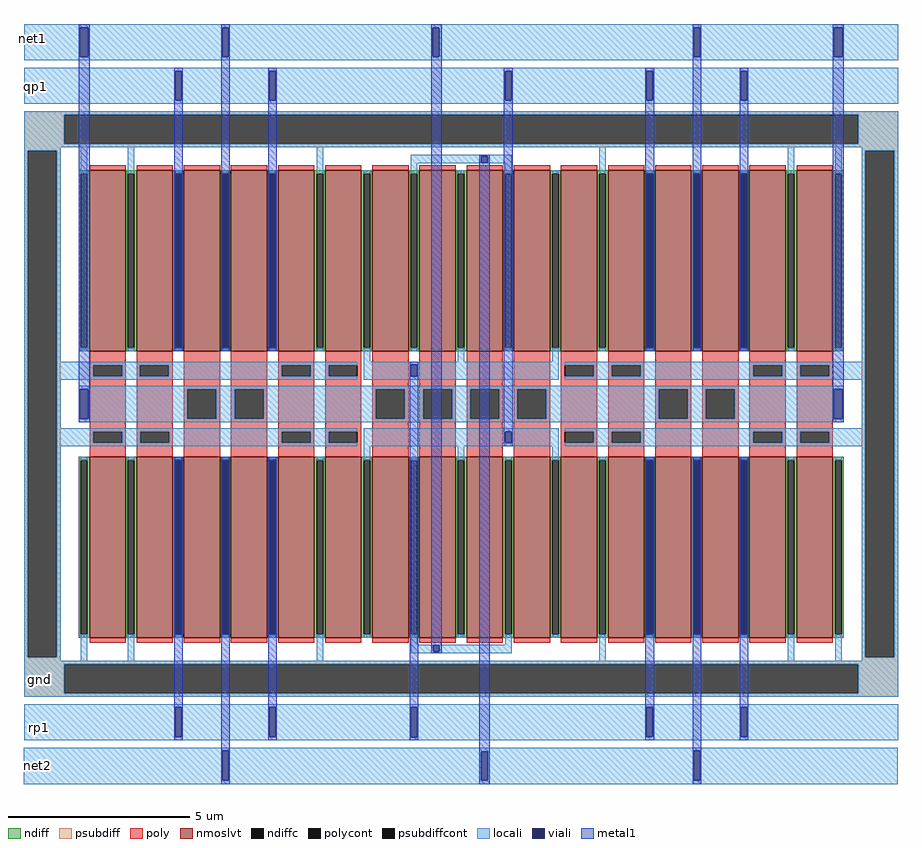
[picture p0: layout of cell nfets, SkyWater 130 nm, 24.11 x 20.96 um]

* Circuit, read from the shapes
.subckt nfets net1 qp1 gnd rp1 net2
XM1 gnd gnd gnd gnd sky130_fd_pr__nfet_01v8_lvt w=5 l=1 m=4
XM2 rp1 gnd gnd gnd sky130_fd_pr__nfet_01v8_lvt w=5 l=1 m=6
XM3 qp1 gnd gnd gnd sky130_fd_pr__nfet_01v8_lvt w=5 l=1 m=6
XM4 net2 net1 rp1 gnd sky130_fd_pr__nfet_01v8_lvt w=5 l=1 m=8
XM5 net1 net1 qp1 gnd sky130_fd_pr__nfet_01v8_lvt w=5 l=1 m=8
.ends

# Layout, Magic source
magic
tech sky130A
<< ndiff >>
rect 263 503 287 513
rect 263 23 266 503
rect 284 23 287 503
rect 263 13 287 23
rect 1303 503 1327 513
rect 1303 23 1306 503
rect 1324 23 1327 503
rect 1303 13 1327 23
rect 1433 503 1457 513
rect 1433 23 1436 503
rect 1454 23 1457 503
rect 1433 13 1457 23
rect 1563 503 1587 513
rect 1563 23 1566 503
rect 1584 23 1587 503
rect 1563 13 1587 23
rect 1820 503 1850 513
rect 1820 23 1826 503
rect 1844 23 1850 503
rect 1820 13 1850 23
rect 263 -287 287 -277
rect 263 -767 266 -287
rect 284 -767 287 -287
rect 263 -777 287 -767
rect 1303 -287 1327 -277
rect 1303 -767 1306 -287
rect 1324 -767 1327 -287
rect 1303 -777 1327 -767
rect 1433 -287 1457 -277
rect 1433 -767 1436 -287
rect 1454 -767 1457 -287
rect 1433 -777 1457 -767
rect 1563 -287 1587 -277
rect 1563 -767 1566 -287
rect 1584 -767 1587 -287
rect 1563 -777 1587 -767
<< ndiffc >>
rect 266 23 284 503
rect 1306 23 1324 503
rect 1436 23 1454 503
rect 1566 23 1584 503
rect 1826 23 1844 503
rect 266 -767 284 -287
rect 1306 -767 1324 -287
rect 1436 -767 1454 -287
rect 1566 -767 1584 -287
<< psubdiff >>
rect -410 666 2000 676
rect -410 586 -300 666
rect 1890 586 2000 666
rect -410 576 2000 586
rect -410 566 -310 576
rect -410 -830 -400 566
rect -320 -830 -310 566
rect 1900 566 2000 576
rect -410 -840 -310 -830
rect 1900 -830 1910 566
rect 1990 -830 2000 566
rect 1900 -840 2000 -830
rect -410 -850 2000 -840
rect -410 -930 -300 -850
rect 1890 -930 2000 -850
rect -410 -940 2000 -930
<< psubdiffcont >>
rect -300 586 1890 666
rect -400 -830 -320 566
rect 1910 -830 1990 566
rect -300 -930 1890 -850
<< poly >>
rect -230 -25 -130 0
rect -230 -55 -220 -25
rect -140 -55 -130 -25
rect -230 -209 -130 -55
rect -230 -239 -220 -209
rect -140 -239 -130 -209
rect -230 -264 -130 -239
rect -100 -25 0 0
rect -100 -55 -91 -25
rect -11 -55 0 -25
rect -100 -209 0 -55
rect -100 -239 -90 -209
rect -10 -239 0 -209
rect -100 -264 0 -239
rect 30 -92 130 0
rect 30 -172 40 -92
rect 120 -172 130 -92
rect 30 -264 130 -172
rect 160 -92 260 0
rect 160 -172 170 -92
rect 250 -172 260 -92
rect 160 -264 260 -172
rect 290 -25 390 0
rect 290 -55 300 -25
rect 380 -55 390 -25
rect 290 -209 390 -55
rect 290 -239 300 -209
rect 380 -239 390 -209
rect 290 -264 390 -239
rect 420 -25 520 0
rect 420 -55 430 -25
rect 509 -55 520 -25
rect 420 -209 520 -55
rect 420 -239 430 -209
rect 509 -239 520 -209
rect 420 -264 520 -239
rect 550 -92 650 0
rect 550 -172 560 -92
rect 640 -172 650 -92
rect 550 -264 650 -172
rect 680 -92 780 0
rect 680 -172 690 -92
rect 770 -172 780 -92
rect 680 -264 780 -172
rect 810 -92 910 0
rect 810 -172 820 -92
rect 900 -172 910 -92
rect 810 -264 910 -172
rect 940 -92 1040 0
rect 940 -172 950 -92
rect 1030 -172 1040 -92
rect 940 -264 1040 -172
rect 1070 -25 1170 0
rect 1070 -55 1081 -25
rect 1160 -55 1170 -25
rect 1070 -209 1170 -55
rect 1070 -239 1081 -209
rect 1160 -239 1170 -209
rect 1070 -264 1170 -239
rect 1200 -25 1300 0
rect 1200 -55 1210 -25
rect 1290 -55 1300 -25
rect 1200 -209 1300 -55
rect 1200 -239 1210 -209
rect 1290 -239 1300 -209
rect 1200 -264 1300 -239
rect 1330 -92 1430 0
rect 1330 -172 1340 -92
rect 1420 -172 1430 -92
rect 1330 -264 1430 -172
rect 1460 -92 1560 0
rect 1460 -172 1470 -92
rect 1550 -172 1560 -92
rect 1460 -264 1560 -172
rect 1590 -25 1690 0
rect 1590 -55 1600 -25
rect 1680 -55 1690 -25
rect 1590 -209 1690 -55
rect 1590 -239 1601 -209
rect 1681 -239 1690 -209
rect 1590 -264 1690 -239
rect 1720 -25 1820 0
rect 1720 -55 1730 -25
rect 1810 -55 1820 -25
rect 1720 -209 1820 -55
rect 1720 -239 1730 -209
rect 1810 -239 1820 -209
rect 1720 -264 1820 -239
<< polycont >>
rect -220 -55 -140 -25
rect -220 -239 -140 -209
rect -91 -55 -11 -25
rect -90 -239 -10 -209
rect 40 -172 120 -92
rect 170 -172 250 -92
rect 300 -55 380 -25
rect 300 -239 380 -209
rect 430 -55 509 -25
rect 430 -239 509 -209
rect 560 -172 640 -92
rect 690 -172 770 -92
rect 820 -172 900 -92
rect 950 -172 1030 -92
rect 1081 -55 1160 -25
rect 1081 -239 1160 -209
rect 1210 -55 1290 -25
rect 1210 -239 1290 -209
rect 1340 -172 1420 -92
rect 1470 -172 1550 -92
rect 1600 -55 1680 -25
rect 1601 -239 1681 -209
rect 1730 -55 1810 -25
rect 1730 -239 1810 -209
<< locali >>
rect -410 906 2000 916
rect -410 826 -257 906
rect -233 826 136 906
rect 154 905 1436 906
rect 154 826 717 905
rect 735 826 1436 905
rect 1454 826 1823 906
rect 1847 826 2000 906
rect -410 816 2000 826
rect -410 786 2000 796
rect -410 706 6 786
rect 24 706 266 786
rect 284 706 916 786
rect 934 706 1306 786
rect 1324 706 1566 786
rect 1584 706 2000 786
rect -410 696 2000 706
rect -410 666 2000 676
rect -410 586 -300 666
rect 1890 586 2000 666
rect -410 576 2000 586
rect -410 566 -310 576
rect -410 -830 -400 566
rect -320 -15 -310 566
rect -254 513 -236 576
rect -124 513 -106 576
rect 396 513 414 576
rect 656 551 934 556
rect 656 534 851 551
rect 868 534 934 551
rect 656 532 934 534
rect 656 513 674 532
rect 916 513 934 532
rect 1176 513 1194 576
rect 1696 513 1714 576
rect 266 503 284 513
rect 266 13 284 23
rect 1306 503 1324 513
rect 1306 13 1324 23
rect 1436 503 1454 513
rect 1436 13 1454 23
rect 1566 503 1584 513
rect 1566 13 1584 23
rect 1826 503 1844 576
rect 1826 13 1844 23
rect 1900 566 2000 576
rect 526 -15 544 13
rect 786 -15 804 13
rect 1046 -15 1064 13
rect 1900 -15 1910 566
rect -320 -25 509 -15
rect -320 -55 -220 -25
rect -140 -55 -91 -25
rect -11 -55 300 -25
rect 380 -55 430 -25
rect -320 -65 509 -55
rect 526 -24 1064 -15
rect 526 -56 656 -24
rect 674 -56 1064 -24
rect 526 -65 1064 -56
rect 1081 -25 1910 -15
rect 1160 -55 1210 -25
rect 1290 -55 1600 -25
rect 1680 -55 1730 -25
rect 1810 -55 1910 -25
rect 1081 -65 1910 -55
rect -320 -199 -310 -65
rect -260 -92 1850 -82
rect -260 -172 -257 -92
rect -233 -172 40 -92
rect 120 -172 170 -92
rect 250 -172 560 -92
rect 640 -172 690 -92
rect 770 -172 820 -92
rect 900 -172 950 -92
rect 1030 -172 1340 -92
rect 1420 -172 1470 -92
rect 1550 -172 1823 -92
rect 1847 -172 1850 -92
rect -260 -182 1850 -172
rect 1900 -199 1910 -65
rect -320 -209 509 -199
rect -320 -239 -220 -209
rect -140 -239 -90 -209
rect -10 -239 300 -209
rect 380 -239 430 -209
rect -320 -249 509 -239
rect 526 -209 1064 -199
rect 526 -239 916 -209
rect 934 -239 1064 -209
rect 526 -249 1064 -239
rect 1081 -209 1910 -199
rect 1160 -239 1210 -209
rect 1290 -239 1601 -209
rect 1681 -239 1730 -209
rect 1810 -239 1910 -209
rect 1081 -249 1910 -239
rect -320 -830 -310 -249
rect 526 -277 544 -249
rect 786 -277 804 -249
rect 1046 -277 1064 -249
rect 266 -287 284 -277
rect 266 -777 284 -767
rect 1306 -287 1324 -277
rect 1306 -777 1324 -767
rect 1436 -287 1454 -277
rect 1436 -777 1454 -767
rect 1566 -287 1584 -277
rect 1566 -777 1584 -767
rect -410 -840 -310 -830
rect -254 -840 -236 -777
rect -124 -840 -106 -777
rect 396 -840 414 -777
rect 656 -796 674 -777
rect 916 -796 934 -777
rect 656 -798 934 -796
rect 656 -815 718 -798
rect 735 -815 934 -798
rect 656 -820 934 -815
rect 1176 -840 1194 -777
rect 1696 -840 1714 -777
rect 1826 -840 1844 -777
rect 1900 -830 1910 -249
rect 1990 -830 2000 566
rect 1900 -840 2000 -830
rect -410 -850 2000 -840
rect -410 -930 -300 -850
rect 1890 -930 2000 -850
rect -410 -940 2000 -930
rect -410 -968 2000 -960
rect -410 -1050 6 -968
rect 24 -1050 266 -968
rect 284 -969 1306 -968
rect 284 -1050 656 -969
rect -410 -1051 656 -1050
rect 674 -1050 1306 -969
rect 1324 -1050 1566 -968
rect 1584 -1050 2000 -968
rect 674 -1051 2000 -1050
rect -410 -1060 2000 -1051
rect -411 -1088 1999 -1080
rect -411 -1170 136 -1088
rect 154 -1091 1436 -1088
rect 154 -1170 850 -1091
rect 868 -1170 1436 -1091
rect 1454 -1170 1999 -1088
rect -411 -1180 1999 -1170
<< viali >>
rect -257 826 -233 906
rect 136 826 154 906
rect 717 826 735 905
rect 1436 826 1454 906
rect 1823 826 1847 906
rect 6 706 24 786
rect 266 706 284 786
rect 916 706 934 786
rect 1306 706 1324 786
rect 1566 706 1584 786
rect 851 534 868 551
rect 6 23 24 503
rect 136 23 154 503
rect 266 23 284 503
rect 1306 23 1324 503
rect 1436 23 1454 503
rect 1566 23 1584 503
rect 656 -56 674 -24
rect -257 -172 -233 -92
rect 1823 -172 1847 -92
rect 916 -239 934 -209
rect 6 -767 24 -287
rect 136 -767 154 -287
rect 266 -767 284 -287
rect 1306 -767 1324 -287
rect 1436 -767 1454 -287
rect 1566 -767 1584 -287
rect 718 -815 735 -798
rect 6 -1050 24 -968
rect 266 -1050 284 -968
rect 656 -1051 674 -969
rect 1306 -1050 1324 -968
rect 1566 -1050 1584 -968
rect 136 -1170 154 -1088
rect 850 -1170 868 -1091
rect 1436 -1170 1454 -1088
<< metal1 >>
rect -260 906 -230 916
rect -260 826 -257 906
rect -233 826 -230 906
rect -260 -92 -230 826
rect 133 906 157 916
rect 133 826 136 906
rect 154 826 157 906
rect 3 786 27 796
rect 3 706 6 786
rect 24 706 27 786
rect 3 503 27 706
rect 3 23 6 503
rect 24 23 27 503
rect 3 13 27 23
rect 133 503 157 826
rect 712 905 741 916
rect 712 826 717 905
rect 735 826 741 905
rect 133 23 136 503
rect 154 23 157 503
rect 133 13 157 23
rect 263 786 287 796
rect 263 706 266 786
rect 284 706 287 786
rect 263 503 287 706
rect 263 23 266 503
rect 284 23 287 503
rect 263 13 287 23
rect -260 -172 -257 -92
rect -233 -172 -230 -92
rect -260 -182 -230 -172
rect 653 -24 677 -15
rect 653 -56 656 -24
rect 674 -56 677 -24
rect 3 -287 27 -277
rect 3 -767 6 -287
rect 24 -767 27 -287
rect 3 -968 27 -767
rect 3 -1050 6 -968
rect 24 -1050 27 -968
rect 3 -1060 27 -1050
rect 133 -287 157 -277
rect 133 -767 136 -287
rect 154 -767 157 -287
rect 133 -1088 157 -767
rect 263 -287 287 -277
rect 263 -767 266 -287
rect 284 -767 287 -287
rect 263 -968 287 -767
rect 263 -1050 266 -968
rect 284 -1050 287 -968
rect 263 -1060 287 -1050
rect 653 -969 677 -56
rect 712 -798 741 826
rect 1433 906 1457 916
rect 1433 826 1436 906
rect 1454 826 1457 906
rect 913 786 937 796
rect 913 706 916 786
rect 934 706 937 786
rect 712 -815 718 -798
rect 735 -815 741 -798
rect 712 -820 741 -815
rect 845 551 874 556
rect 845 534 851 551
rect 868 534 874 551
rect 653 -1051 656 -969
rect 674 -1051 677 -969
rect 653 -1060 677 -1051
rect 133 -1170 136 -1088
rect 154 -1170 157 -1088
rect 133 -1180 157 -1170
rect 845 -1091 874 534
rect 913 -209 937 706
rect 1303 786 1327 796
rect 1303 706 1306 786
rect 1324 706 1327 786
rect 1303 503 1327 706
rect 1303 23 1306 503
rect 1324 23 1327 503
rect 1303 13 1327 23
rect 1433 503 1457 826
rect 1820 906 1850 916
rect 1820 826 1823 906
rect 1847 826 1850 906
rect 1433 23 1436 503
rect 1454 23 1457 503
rect 1433 13 1457 23
rect 1563 786 1587 796
rect 1563 706 1566 786
rect 1584 706 1587 786
rect 1563 503 1587 706
rect 1563 23 1566 503
rect 1584 23 1587 503
rect 1563 13 1587 23
rect 1820 -92 1850 826
rect 1820 -172 1823 -92
rect 1847 -172 1850 -92
rect 1820 -182 1850 -172
rect 913 -239 916 -209
rect 934 -239 937 -209
rect 913 -249 937 -239
rect 1303 -287 1327 -277
rect 1303 -767 1306 -287
rect 1324 -767 1327 -287
rect 1303 -968 1327 -767
rect 1303 -1050 1306 -968
rect 1324 -1050 1327 -968
rect 1303 -1060 1327 -1050
rect 1433 -287 1457 -277
rect 1433 -767 1436 -287
rect 1454 -767 1457 -287
rect 845 -1170 850 -1091
rect 868 -1170 874 -1091
rect 845 -1180 874 -1170
rect 1433 -1088 1457 -767
rect 1563 -287 1587 -277
rect 1563 -767 1566 -287
rect 1584 -767 1587 -287
rect 1563 -968 1587 -767
rect 1563 -1050 1566 -968
rect 1584 -1050 1587 -968
rect 1563 -1060 1587 -1050
rect 1433 -1170 1436 -1088
rect 1454 -1170 1457 -1088
rect 1433 -1180 1457 -1170
use nfet  nfet_31
transform 1 0 -230 0 1 -777
box -30 -13 130 513
use nfet  nfet_30
transform 1 0 -100 0 1 -777
box -30 -13 130 513
use nfet  nfet_9
transform 1 0 160 0 1 -777
box -30 -13 130 513
use nfet  nfet_8
transform 1 0 30 0 1 -777
box -30 -13 130 513
use nfet  nfet_10
transform 1 0 290 0 1 -777
box -30 -13 130 513
use nfet  nfet_11
transform 1 0 420 0 1 -777
box -30 -13 130 513
use nfet  nfet_12
transform 1 0 550 0 1 -777
box -30 -13 130 513
use nfet  nfet_14
transform 1 0 810 0 1 -777
box -30 -13 130 513
use nfet  nfet_13
transform 1 0 680 0 1 -777
box -30 -13 130 513
use nfet  nfet_15
transform 1 0 940 0 1 -777
box -30 -13 130 513
use nfet  nfet_21
transform 1 0 1200 0 1 -777
box -30 -13 130 513
use nfet  nfet_20
transform 1 0 1070 0 1 -777
box -30 -13 130 513
use nfet  nfet_22
transform 1 0 1330 0 1 -777
box -30 -13 130 513
use nfet  nfet_23
transform 1 0 1460 0 1 -777
box -30 -13 130 513
use nfet  nfet_26
transform 1 0 1590 0 1 -777
box -30 -13 130 513
use nfet  nfet_27
transform 1 0 1720 0 1 -777
box -30 -13 130 513
use nfet  nfet_29
transform 1 0 -230 0 1 13
box -30 -13 130 513
use nfet  nfet_28
transform 1 0 -100 0 1 13
box -30 -13 130 513
use nfet  nfet_0
transform 1 0 30 0 1 13
box -30 -13 130 513
use nfet  nfet_1
transform 1 0 160 0 1 13
box -30 -13 130 513
use nfet  nfet_2
transform 1 0 290 0 1 13
box -30 -13 130 513
use nfet  nfet_3
transform 1 0 420 0 1 13
box -30 -13 130 513
use nfet  nfet_4
transform 1 0 550 0 1 13
box -30 -13 130 513
use nfet  nfet_5
transform 1 0 680 0 1 13
box -30 -13 130 513
use nfet  nfet_6
transform 1 0 810 0 1 13
box -30 -13 130 513
use nfet  nfet_7
transform 1 0 940 0 1 13
box -30 -13 130 513
use nfet  nfet_17
transform 1 0 1200 0 1 13
box -30 -13 130 513
use nfet  nfet_16
transform 1 0 1070 0 1 13
box -30 -13 130 513
use nfet  nfet_18
transform 1 0 1330 0 1 13
box -30 -13 130 513
use nfet  nfet_19
transform 1 0 1460 0 1 13
box -30 -13 130 513
use nfet  nfet_24
transform 1 0 1590 0 1 13
box -30 -13 130 513
use nfet  nfet_25
transform 1 0 1720 0 1 13
box -30 -13 130 513
<< labels >>
rlabel locali -387 876 -387 876 1 net1
port 1 n
rlabel locali -378 743 -378 743 1 qp1
port 2 n
rlabel locali -367 -892 -367 -892 1 gnd
port 3 n
rlabel locali -367 -1023 -367 -1023 1 rp1
port 4 n
rlabel locali -374 -1129 -374 -1129 1 net2
port 5 n
<< end >>

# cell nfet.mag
magic
tech sky130A
<< nmoslvt >>
rect 0 0 100 500
<< ndiff >>
rect -30 490 0 500
rect -30 10 -24 490
rect -6 10 0 490
rect -30 0 0 10
rect 100 490 130 500
rect 100 10 106 490
rect 124 10 130 490
rect 100 0 130 10
<< ndiffc >>
rect -24 10 -6 490
rect 106 10 124 490
<< poly >>
rect 0 500 100 513
rect 0 -13 100 0
<< locali >>
rect -24 490 -6 500
rect -24 0 -6 10
rect 106 490 124 500
rect 106 0 124 10
<< end >>
